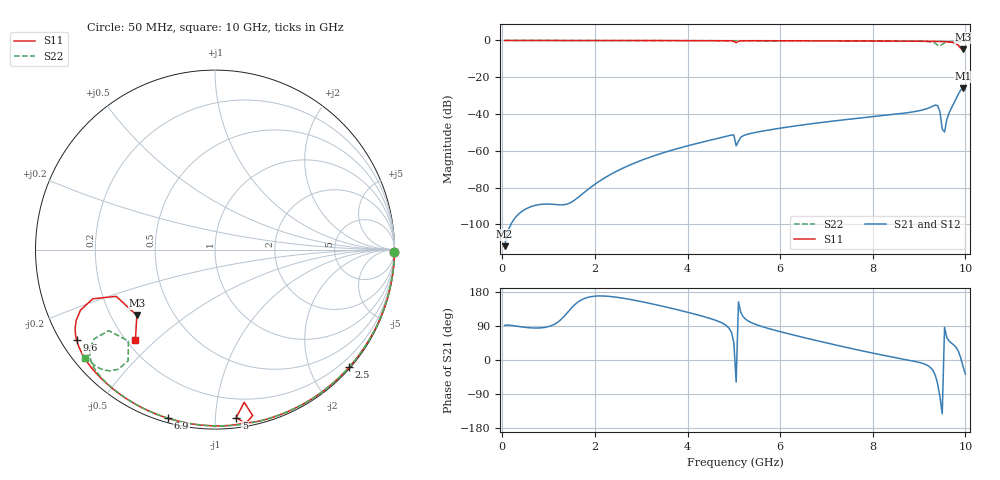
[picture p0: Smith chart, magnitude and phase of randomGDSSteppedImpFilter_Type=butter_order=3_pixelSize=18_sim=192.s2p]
! freq	dB(S11)	phase(S11)	dB(S12)	phase(S12)
!  dB(S21)	phase(S21)	dB(S22)	phase(S22)
!S-par simulation data
#  GHz  S  DB  R 50
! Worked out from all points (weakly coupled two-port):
!   200 points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, 50 MHz to 10 GHz, reference 50 ohm
!   highest |S21| = -25.97 dB at 9.95 GHz (marker M1); lowest = -111.8 dB at 50 MHz (marker M2)
!   lowest |S11| = -4.9 dB at 9.95 GHz (marker M3), VSWR 3.64, Z = 15.4 - j16.7 ohm
!   |S11| at or under -10 dB: nowhere
!   |S22| runs from -3.1 to 0.0 dB; largest |S21 - S12| = 0
!   S11 on the Smith chart (normalised r, x): 50 MHz: open; 2.5 GHz: 0.02, -2.66; 5 GHz: 0.07, -1.13; 6.9 GHz: 0.02, -0.76; 9.6 GHz: 0.04, -0.30; 10 GHz: 0.23, -0.43
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0.05  -0.00 -0.8  -111.81 91.4  -111.81 91.4  -0.00 -0.8
1.75  -0.04 -29.1  -82.98 161.2  -82.98 161.2  -0.04 -28.5
1.9  -0.04 -31.6  -80.00 166.9  -80.00 166.9  -0.04 -30.9
2.5  -0.05 -41.3  -70.68 165.1  -70.68 165.1  -0.05 -40.3
3.4  -0.07 -55.4  -61.64 143.6  -61.64 143.6  -0.07 -54.2
5  -0.51 -82.8  -51.39 46.6  -51.39 46.6  -0.12 -77.6
5.05  -1.25 -79.2  -57.30 -58.1  -57.30 -58.1  -0.12 -78.3
5.15  -0.25 -79.1  -52.63 125.5  -52.63 125.5  -0.12 -79.7
5.3  -0.16 -82.4  -50.95 103.8  -50.95 103.8  -0.13 -81.8
6.7  -0.20 -102.7  -45.19 53.7  -45.19 53.7  -0.20 -101.0
6.9  -0.21 -105.5  -44.55 48.0  -44.55 48.0  -0.21 -103.6
8.35  -0.33 -125.2  -40.48 9.5  -40.48 9.5  -0.32 -123.0
9.1  -0.43 -136.2  -37.59 -9.9  -37.59 -9.9  -0.50 -135.2
9.35  -0.50 -140.7  -35.12 -40.1  -35.12 -40.1  -1.54 -143.6
9.45  -0.56 -142.8  -38.66 -96.6  -38.66 -96.6  -3.08 -133.4
9.5  -0.60 -144.0  -48.15 -142.0  -48.15 -142.0  -2.09 -128.0
9.55  -0.64 -145.3  -49.79 86.2  -49.79 86.2  -1.33 -128.9
9.6  -0.71 -146.7  -42.81 58.6  -42.81 58.6  -0.97 -130.9
9.8  -1.72 -155.8  -31.66 33.3  -31.66 33.3  -0.62 -136.6
9.9  -4.31 -154.7  -26.88 5.2  -26.88 5.2  -0.58 -138.4
9.95  -4.90 -139.9  -25.97 -17.4  -25.97 -17.4  -0.55 -139.3
10  -3.45 -131.3  -26.56 -37.3  -26.56 -37.3  -0.53 -140.2
